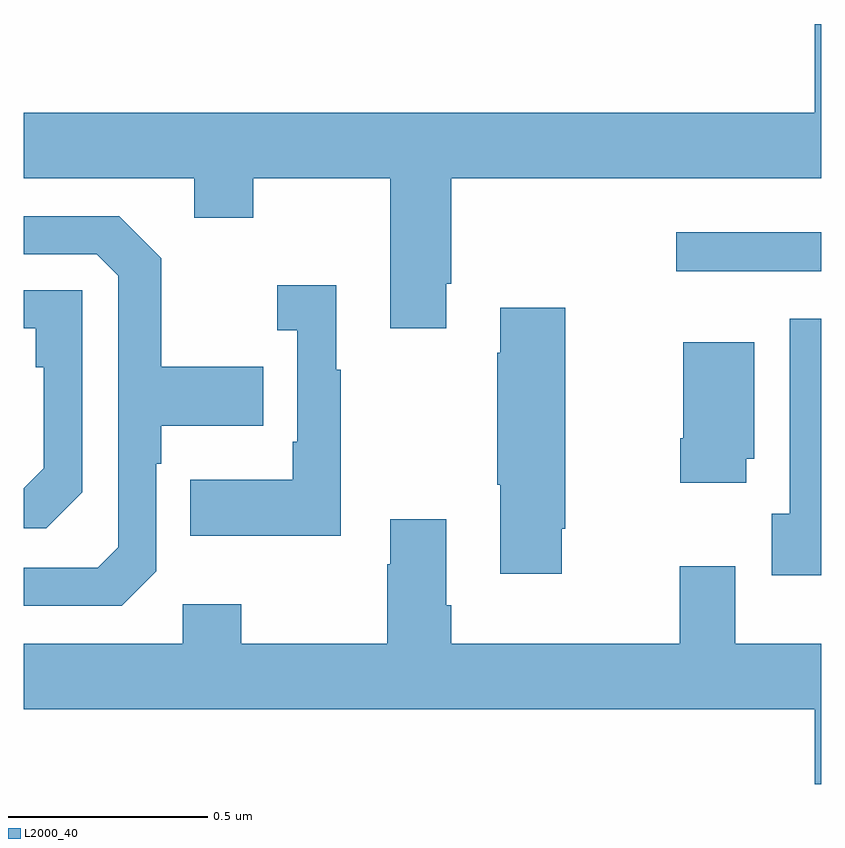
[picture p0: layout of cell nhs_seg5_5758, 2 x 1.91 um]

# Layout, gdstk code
import gdstk
lib = gdstk.Library(unit=1e-6, precision=1e-09)
def R(c, l, rs):  # rectangles x0, y0, x1, y1
    for r in rs: c.add(gdstk.rectangle(r[:2], r[2:], *l))
def P(c, l, *ps):  # polygons
    for p in ps: c.add(gdstk.Polygon(p, *l))
L2000_40 = (2000, 40)

nhs_seg5_5758 = lib.new_cell('nhs_seg5_5758')
R(nhs_seg5_5758, L2000_40, [(188.637,871.179,189,871.276)])
P(nhs_seg5_5758, L2000_40, [(188.059,871.147),(188.072,871.147),(188.072,871.412),(189,871.412),(189,871.799),(188.984,871.799),(188.984,871.576),(187,871.576),(187,871.412),(187.427,871.412),(187.427,871.313),(187.575,871.313),(187.575,871.412),(187.919,871.412),(187.919,871.035),(188.059,871.035)],
  [(187.332,870.426),(187.332,870.695),(187.345,870.695),(187.345,870.791),(187.601,870.791),(187.601,870.939),(187.345,870.939),(187.345,871.211),(187.239,871.317),(187,871.317),(187,871.221),(187.182,871.221),(187.236,871.167),(187.236,870.486),(187.185,870.435),(187,870.435),(187,870.339),(187.245,870.339)],
  [(187.795,870.931),(187.783,870.931),(187.783,871.144),(187.635,871.144),(187.635,871.031),(187.686,871.031),(187.686,870.751),(187.674,870.751),(187.674,870.655),(187.417,870.655),(187.417,870.515),(187.795,870.515)],
  [(187.146,870.624),(187.146,871.131),(187,871.131),(187,871.035),(187.03,871.035),(187.03,870.938),(187.05,870.938),(187.05,870.684),(187,870.634),(187,870.534),(187.056,870.534)],
  [(188.35,870.532),(188.358,870.532),(188.358,871.087),(188.195,871.087),(188.195,870.974),(188.188,870.974),(188.188,870.643),(188.195,870.643),(188.195,870.42),(188.35,870.42)],
  [(189,871.06),(188.921,871.06),(188.921,870.57),(188.876,870.57),(188.876,870.416),(189,870.416)],
  [(188.812,870.708),(188.833,870.708),(188.833,871),(188.654,871),(188.654,870.76),(188.647,870.76),(188.647,870.648),(188.812,870.648)],
  [(187.398,870.343),(187.398,870.244),(187,870.244),(187,870.08),(188.984,870.08),(188.984,869.892),(189,869.892),(189,870.244),(188.785,870.244),(188.785,870.439),(188.645,870.439),(188.645,870.244),(188.072,870.244),(188.072,870.34),(188.059,870.34),(188.059,870.556),(187.919,870.556),(187.919,870.443),(187.912,870.443),(187.912,870.244),(187.545,870.244),(187.545,870.343)])

lib.write_gds('nhs_seg5_5758.gds')
